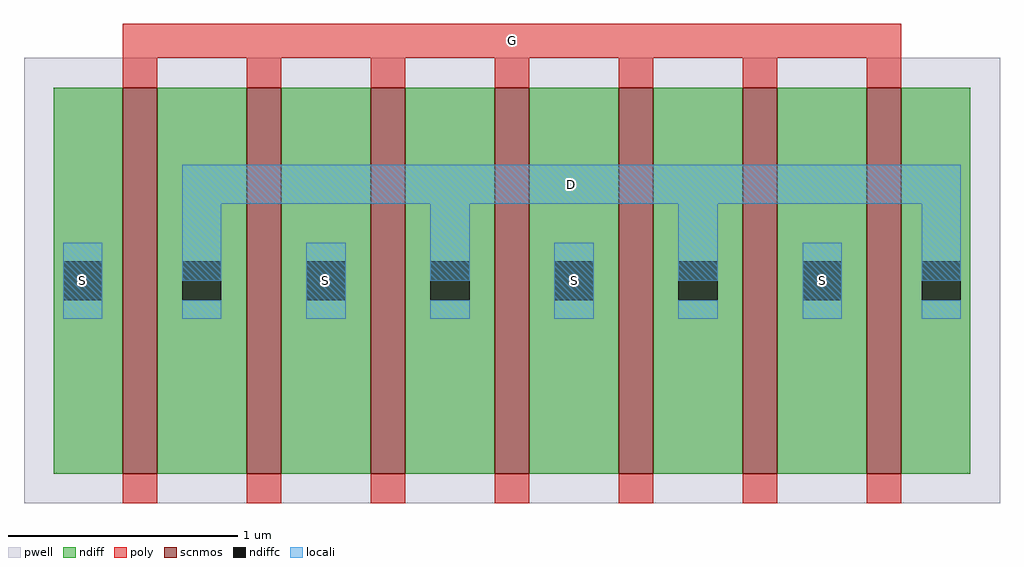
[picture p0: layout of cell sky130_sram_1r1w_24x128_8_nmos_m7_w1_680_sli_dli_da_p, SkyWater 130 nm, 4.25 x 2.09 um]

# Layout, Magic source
magic
tech sky130B
magscale 1 2
<< pwell >>
rect -26 -26 824 362
<< scnmos >>
rect 60 0 90 336
rect 168 0 198 336
rect 276 0 306 336
rect 384 0 414 336
rect 492 0 522 336
rect 600 0 630 336
rect 708 0 738 336
<< ndiff >>
rect 0 0 60 336
rect 90 0 168 336
rect 198 0 276 336
rect 306 0 384 336
rect 414 0 492 336
rect 522 0 600 336
rect 630 0 708 336
rect 738 0 798 336
<< poly >>
rect 60 362 738 392
rect 60 336 90 362
rect 168 336 198 362
rect 276 336 306 362
rect 384 336 414 362
rect 492 336 522 362
rect 600 336 630 362
rect 708 336 738 362
rect 60 -26 90 0
rect 168 -26 198 0
rect 276 -26 306 0
rect 384 -26 414 0
rect 492 -26 522 0
rect 600 -26 630 0
rect 708 -26 738 0
<< locali >>
rect 112 235 790 269
rect 8 135 42 201
rect 112 168 146 235
rect 220 135 254 201
rect 328 168 362 235
rect 436 135 470 201
rect 544 168 578 235
rect 652 135 686 201
rect 756 168 790 235
use sky130_sram_1r1w_24x128_8_contact_10  sky130_sram_1r1w_24x128_8_contact_10_0
transform 1 0 748 0 1 135
box -26 -22 76 88
use sky130_sram_1r1w_24x128_8_contact_10  sky130_sram_1r1w_24x128_8_contact_10_1
transform 1 0 644 0 1 135
box -26 -22 76 88
use sky130_sram_1r1w_24x128_8_contact_10  sky130_sram_1r1w_24x128_8_contact_10_2
transform 1 0 536 0 1 135
box -26 -22 76 88
use sky130_sram_1r1w_24x128_8_contact_10  sky130_sram_1r1w_24x128_8_contact_10_3
transform 1 0 428 0 1 135
box -26 -22 76 88
use sky130_sram_1r1w_24x128_8_contact_10  sky130_sram_1r1w_24x128_8_contact_10_4
transform 1 0 320 0 1 135
box -26 -22 76 88
use sky130_sram_1r1w_24x128_8_contact_10  sky130_sram_1r1w_24x128_8_contact_10_5
transform 1 0 212 0 1 135
box -26 -22 76 88
use sky130_sram_1r1w_24x128_8_contact_10  sky130_sram_1r1w_24x128_8_contact_10_6
transform 1 0 104 0 1 135
box -26 -22 76 88
use sky130_sram_1r1w_24x128_8_contact_10  sky130_sram_1r1w_24x128_8_contact_10_7
transform 1 0 0 0 1 135
box -26 -22 76 88
<< labels >>
rlabel poly s 399 377 399 377 4 G
port 1 nsew
rlabel locali s 237 168 237 168 4 S
port 2 nsew
rlabel locali s 25 168 25 168 4 S
port 2 nsew
rlabel locali s 453 168 453 168 4 S
port 2 nsew
rlabel locali s 669 168 669 168 4 S
port 2 nsew
rlabel locali s 451 252 451 252 4 D
port 3 nsew
<< properties >>
string FIXED_BBOX -25 -26 823 392
<< end >>

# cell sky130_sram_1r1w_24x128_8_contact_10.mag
magic
tech sky130B
<< pwell >>
rect -13 -11 38 44
<< ndiff >>
rect 0 25 25 31
rect 0 8 4 25
rect 21 8 25 25
rect 0 2 25 8
<< ndiffc >>
rect 4 8 21 25
<< locali >>
rect 4 25 21 33
rect 4 0 21 8
<< properties >>
string FIXED_BBOX -12 -10 37 43
<< end >>
